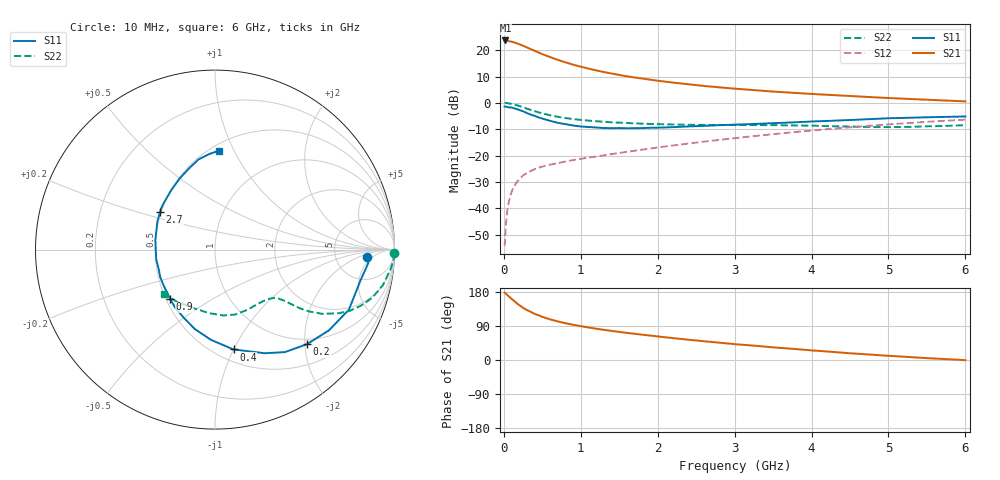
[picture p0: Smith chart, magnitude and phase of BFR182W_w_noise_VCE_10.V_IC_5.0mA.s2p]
! (c) 2017  Infineon Technologies AG, Munich
! Infineon Technologies  Discrete & RF Semiconductors
! BFR182W
! VCE =  10. V,  IC =  5.0 mA
! Common Emitter S-Parameters:  Jan 2017
# GHz  S  MA  R  50
!  f  S11  S21  S12  S22
! GHz  MAG  ANG  MAG  ANG  MAG  ANG  MAG  ANG
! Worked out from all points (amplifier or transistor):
!   77 points, 10 MHz to 6 GHz, reference 50 ohm
!   highest |S21| = 23.7 dB at 20 MHz (marker M1)
!   |S21| within 3 dB of that: start of sweep to 326.9 MHz
!   unconditionally stable (mu >= 1): 1.366 GHz to 2.845 GHz
!   at 130 MHz: K = 0.17, MSG = 27.5 dB, |S12| = -32.0 dB
!   at 2.2 GHz: K = 1.05, MAG = 10.6 dB, |S12| = -16.2 dB
!   at 6 GHz: K = 0.83, MSG = 3.5 dB, |S12| = -6.4 dB
!   lowest NFmin = 0.88 dB at 450 MHz
!   S11 on the Smith chart (normalised r, x): 10 MHz: 11, -3; 200 MHz: 0.89, -2.04; 400 MHz: 0.61, -1.00; 900 MHz: 0.53, -0.34; 2.7 GHz: 0.49, +0.24; 6 GHz: 0.55, +0.88
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0.01  0.85 -2.6  15.27 177.6  0.0019 88.9  0.9988 -1.2
0.02  0.8577 -5.0  15.31 176.1  0.0033 95.3  0.9983 -2.5
0.05  0.8279 -12.2  15.06 170.4  0.0101 81.6  0.9859 -6.1
0.1  0.8176 -24.2  14.54 161.4  0.0203 78.4  0.9571 -11.8
0.15  0.7778 -35.4  13.82 152.8  0.0286 71.9  0.9177 -16.9
0.2  0.7346 -45.9  12.99 144.9  0.0355 68.4  0.8713 -21.0
0.25  0.6913 -55.7  12.15 137.7  0.0418 63.3  0.8238 -24.5
0.3  0.6403 -64.4  11.28 131.8  0.0466 60.6  0.7755 -27.2
0.4  0.5656 -79.5  9.749 121.7  0.0551 56.7  0.6949 -31.0
0.5  0.5031 -92.6  8.435 113.9  0.0616 54.6  0.6306 -33.2
0.6  0.4561 -104.4  7.407 107.3  0.067 53.5  0.5816 -34.5
0.7  0.4185 -114.3  6.554 101.9  0.0715 54.0  0.5441 -35.2
0.8  0.3941 -123.9  5.888 97.1  0.0769 54.4  0.5153 -35.7
0.9  0.3722 -132.0  5.317 93.0  0.082 54.4  0.4929 -36.1
1.1  0.3474 -146.9  4.472 85.9  0.0913 55.9  0.4603 -37.1
1.5  0.3321 -170.7  3.39 74.2  0.1118 58.8  0.4204 -40.0
2.1  0.3414 163.7  2.528 60.0  0.1487 60.8  0.3912 -47.9
2.7  0.3711 145.4  2.033 47.7  0.1905 60.8  0.381 -58.5
3.1  0.3901 135.1  1.815 40.3  0.2213 59.7  0.3787 -65.8
4.1  0.4477 114.7  1.451 24.0  0.3067 54.0  0.3656 -85.4
5.1  0.5141 99.1  1.217 9.9  0.3989 45.4  0.3477 -113.4
6  0.5521 87.7  1.066 -0.5  0.4805 36.2  0.3774 -139.4
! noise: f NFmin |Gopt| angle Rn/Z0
0.45  0.88  0.26  32  0.17
0.9  0.98  0.21  59  0.16
1.9  1.55  0.19  162  0.13
2.4  1.83  0.21  176  0.17
